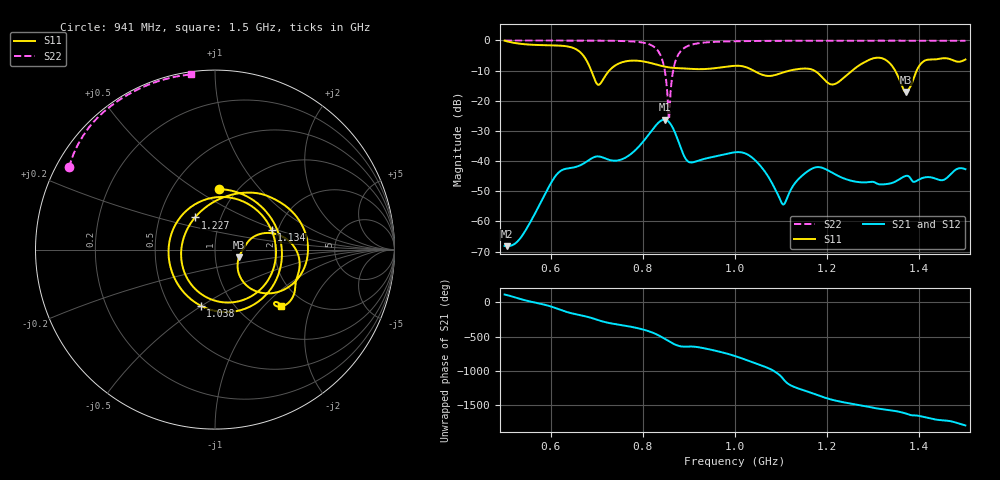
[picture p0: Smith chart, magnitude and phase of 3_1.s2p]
! TOUCHSTONE file generated by CST MICROWAVE STUDIO
! Date and time: Sat Nov 14 20:32:28 2020
! Project name: Scenario_1_Planar_Body_Tissue_Out_of_Line_v2.cst
! Parameters = {dy1=311.4; L_HA=400; Ltissue=700; MT=2.54; Rad_Dielectric=30; Rad_Lower=7.3; Rad_Upper=30; Wtissue=700; a_HA=580; a_WG=246; b_HA=500; b_WG=121; c_HA=0; c_WG=187; d_feed=85; dx1=173; h_feed=15; h_lower=18; h_upper=40; hfat=3; hgap=25; hmuscle=50; hskin=1.5}
! Header version: 2018
! Port assignment regex: !\s*Touchstone port\s*([0-9]+)\s*=\s*(CST MWS port|CST DS port)\s*([0-9]+|Zmin|Zmax)\s*\(\"(.*)\"\)(\s*mode\s*([0-9]+))?.*
! Touchstone port assignment:
! Touchstone port 1 = CST MWS port 1 ("")
! Touchstone port 2 = CST MWS port 2 ("")
# GHz S DB R 50
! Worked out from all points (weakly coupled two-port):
!   1003 points, 500 MHz to 1.5 GHz, reference 50 ohm
!   highest |S21| = -26.25 dB at 847 MHz (marker M1); lowest = -68.2 dB at 506 MHz (marker M2)
!   lowest |S11| = -17.1 dB at 1.371 GHz (marker M3), VSWR 1.33, Z = 65.2 - j5.61 ohm
!   |S11| at or under -10 dB: 1.04 GHz to 1.119 GHz (78.52 MHz wide, 7.27 % of centre); 1.172 GHz to 1.254 GHz (82.21 MHz wide, 6.78 % of centre); 1.348 GHz to 1.394 GHz (46.59 MHz wide, 3.4 % of centre)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
!   |S22| runs from -26.0 to 0.0 dB; largest |S21 - S12| = 7.5e-05
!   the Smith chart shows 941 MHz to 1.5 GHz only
!   S11 on the Smith chart (normalised r, x): 941 MHz: 0.82, +0.63; 1.038 GHz: 0.71, -0.49; 1.134 GHz: 1.85, +0.45; 1.227 GHz: 0.75, +0.28; 1.5 GHz: 1.54, -1.26
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0.5  -0.07 -121.8  -68.13 110.5  -68.13 110.5  -0.01 151.1
0.506  -0.33 -123.0  -68.19 101.0  -68.19 101.0  -0.01 150.7
0.624  -1.76 176.7  -43.03 -119.3  -43.02 -119.4  -0.03 142.2
0.667  -4.33 110.8  -41.17 166.3  -41.17 166.3  -0.04 138.3
0.691  -11.20 36.6  -38.90 125.3  -38.88 125.3  -0.06 135.8
0.718  -11.87 -106.6  -39.09 69.8  -39.09 69.7  -0.09 132.5
0.764  -6.89 157.7  -38.70 14.5  -38.70 14.6  -0.23 124.3
0.834  -8.18 14.7  -27.24 -122.3  -27.24 -122.3  -3.72 82.1
0.847  -8.66 -20.0  -26.25 -170.7  -26.25 -170.7  -9.46 55.9
0.857  -8.94 -48.4  -27.08 149.2  -27.08 149.2  -26.01 -67.4
0.879  -9.21 -114.0  -34.22 82.0  -34.22 82.0  -4.18 -172.6
0.941  -9.42 86.6  -38.97 38.6  -38.97 38.6  -0.61 150.6
1  -8.41 -23.9  -37.08 -63.2  -37.08 -63.2  -0.28 140.0
1.038  -9.83 -104.4  -38.94 -153.7  -38.94 -153.7  -0.19 135.6
1.104  -10.63 85.2  -54.35 -31.2  -54.40 -29.8  -0.12 129.3
1.134  -9.55 18.9  -46.59 -167.0  -46.57 -167.0  -0.11 126.8
1.167  -9.65 -52.3  -42.49 117.9  -42.50 117.9  -0.10 124.1
1.227  -13.52 121.8  -45.13 -4.3  -45.13 -4.3  -0.09 119.6
1.334  -7.27 -32.2  -47.49 -129.8  -47.49 -129.8  -0.08 111.5
1.371  -17.06 -17.5  -44.90 -179.8  -44.89 -179.8  -0.09 108.6
1.412  -6.68 -3.4  -45.39 127.8  -45.39 127.8  -0.10 105.3
1.5  -6.33 -40.5  -42.67 7.2  -42.67 7.2  -0.13 97.9
